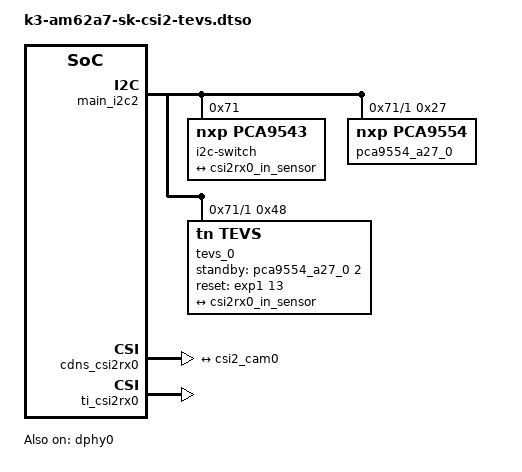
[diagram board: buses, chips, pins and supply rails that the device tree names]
// SPDX-License-Identifier: GPL-2.0
/*
 * TechNexion TEVS camera module overlay for TI AM62A
 *
 * Copyright (C) 2022 Texas Instruments Incorporated - https://www.ti.com/
 */
/dts-v1/;
/plugin/;
#include <dt-bindings/gpio/gpio.h>
&main_i2c2 {
	#address-cells = <1>;
	#size-cells = <0>;
	status = "okay";
	i2c-switch@71 {
		compatible = "nxp,pca9543";
		#address-cells = <1>;
		#size-cells = <0>;
		reg = <0x71>;
		/* CAM port */
		i2c@1 {
			#address-cells = <1>;
			#size-cells = <0>;
			reg = <1>;
			pca9554_a27_0: pca9554@27 {
				compatible = "nxp,pca9554";
				pinctrl-names = "default";
				reg = <0x27>;
				gpio-controller;
				#gpio-cells = <2>;
				status = "okay";
				gpio-line-names = "EXPOSURE_TRIG_IN1", "FLASH_OUT1",
						  "CAM_SHUTTER1", "XVS1", "CSI1_PDB",
						  "CSI1_INT", "INFO_TRIG_IN1", "CSI1_RST_N";
			};
			tevs_0: tevs@48 {
				compatible = "tn,tevs";
				reg = <0x48>;
				/* TI AM62A board-specific GPIO routing. */
				standby-gpios = <&pca9554_a27_0 2 GPIO_ACTIVE_HIGH>;
				reset-gpios = <&exp1 13 GPIO_ACTIVE_HIGH>;
				/* Compatibility with the older TI TEVS driver. */
				data-lanes = <4>;
				data-frequency = <800>;
				continuous-clock = <0>;
                supports-over-4k-res;
				status = "okay";
				port {
					csi2_cam0: endpoint {
						remote-endpoint = <&csi2rx0_in_sensor>;
						/* Standard properties used by the merged driver. */
						link-frequencies = /bits/ 64 <400000000>;
						clock-lanes = <0>;
						data-lanes = <1 2 3 4>;
						clock-noncontinuous;
					};
				};
			};
		};
	};
};
&cdns_csi2rx0 {
	ports {
		#address-cells = <1>;
		#size-cells = <0>;
		csi0_port0: port@0 {
			reg = <0>;
			status = "okay";
			csi2rx0_in_sensor: endpoint {
				remote-endpoint = <&csi2_cam0>;
				bus-type = <4>; /* MIPI CSI-2 D-PHY */
				clock-lanes = <0>;
				data-lanes = <1 2 3 4>;
				clock-noncontinuous;
			};
		};
	};
};
&dphy0 {
	status = "okay";
};
&ti_csi2rx0 {
	status = "okay";
};
